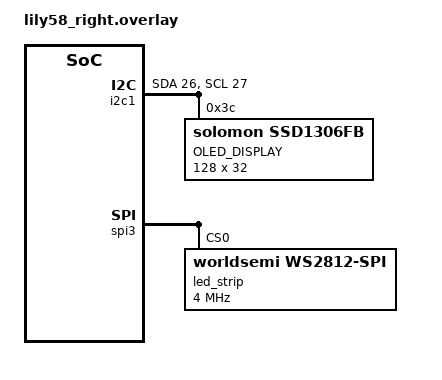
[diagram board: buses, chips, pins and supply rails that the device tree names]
/* OLED секция */
&i2c1 {
    status = "okay";
    sda-pin = <26>;    // ← заменить на ваш SDA pin для OLED на правой стороне, если отличается!
    scl-pin = <27>;    // ← заменить на ваш SCL pin для OLED на правой стороне, если отличается!

    oled@3c {
        compatible = "solomon,ssd1306fb";
        reg = <0x3c>;
        width = <128>;
        height = <32>;
        display-rotation = "180";     // 180 если дисплей “вверх ногами”, иначе 0
        label = "OLED_DISPLAY";
    };
};

/* RGB подсветка */
&spi3 {
    compatible = "nordic,nrf-spim";
    status = "okay";
    pinctrl-0 = <&spi3_default>;
    pinctrl-1 = <&spi3_sleep>;
    pinctrl-names = "default", "sleep";

    led_strip: ws2812@0 {
        compatible = "worldsemi,ws2812-spi";
        reg = <0>;
        spi-max-frequency = <4000000>; // меньше или равно 8MHz, часто 4MHz стабильнее
        chain-length = <24>;           // количество диодов на этой стороне!
        spi-one-frame = <0x70>;
        spi-zero-frame = <0x40>;
        color-mapping = <LED_COLOR_ID_GREEN LED_COLOR_ID_RED LED_COLOR_ID_BLUE>;
        status = "okay";
    };
};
